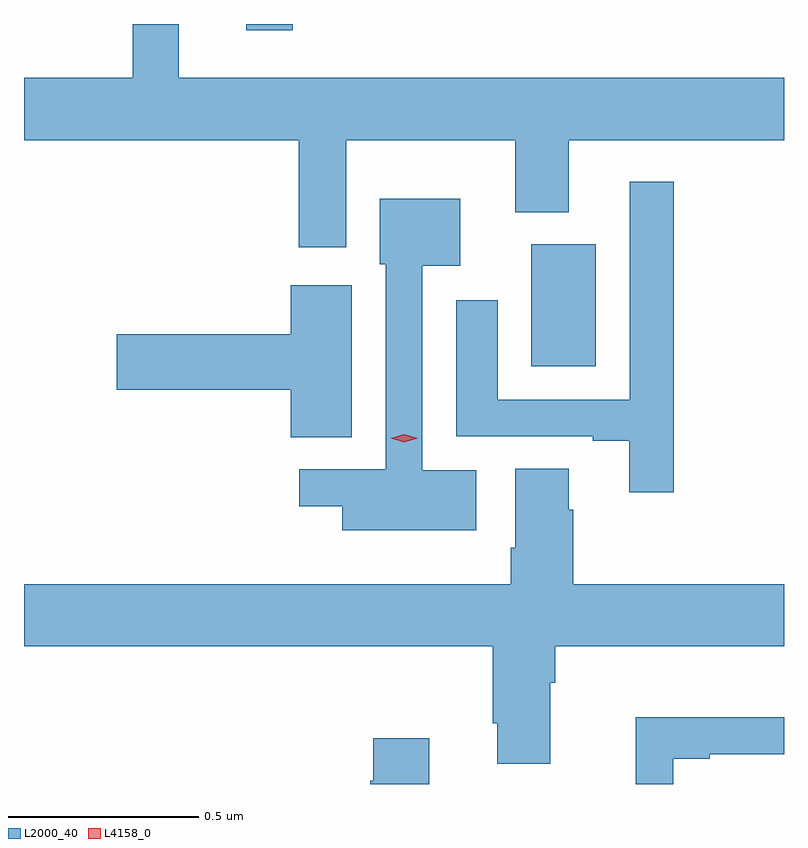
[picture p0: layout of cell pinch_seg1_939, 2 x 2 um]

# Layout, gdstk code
import gdstk
lib = gdstk.Library(unit=1e-6, precision=1e-09)
def R(c, l, rs):  # rectangles x0, y0, x1, y1
    for r in rs: c.add(gdstk.rectangle(r[:2], r[2:], *l))
def P(c, l, *ps):  # polygons
    for p in ps: c.add(gdstk.Polygon(p, *l))
L2000_40 = (2000, 40)
L4158_0 = (4158, 0)

pinch_seg1_939 = lib.new_cell('pinch_seg1_939')
R(pinch_seg1_939, L2000_40, [(254.783,547.142,254.953,547.462), (254.033,548.025,254.155,548.042)])
P(pinch_seg1_939, L2000_40, [(254.296,547.736),(254.741,547.736),(254.741,547.547),(254.881,547.547),(254.881,547.736),(255.448,547.736),(255.448,547.9),(253.855,547.9),(253.855,548.042),(253.734,548.042),(253.734,547.9),(253.448,547.9),(253.448,547.736),(254.171,547.736),(254.171,547.455),(254.296,547.455)],
  [(255.158,547.627),(255.042,547.627),(255.042,547.053),(254.695,547.053),(254.695,547.315),(254.585,547.315),(254.585,546.957),(254.945,546.957),(254.945,546.945),(255.041,546.945),(255.041,546.81),(255.158,546.81)],
  [(254.638,546.868),(254.496,546.868),(254.496,547.406),(254.596,547.406),(254.596,547.582),(254.384,547.582),(254.384,547.41),(254.4,547.41),(254.4,546.87),(254.172,546.87),(254.172,546.773),(254.285,546.773),(254.285,546.71),(254.638,546.71)],
  [(254.311,547.354),(254.15,547.354),(254.15,547.226),(253.692,547.226),(253.692,547.079),(254.15,547.079),(254.15,546.955),(254.311,546.955)],
  [(254.833,546.308),(254.846,546.308),(254.846,546.404),(255.448,546.404),(255.448,546.568),(254.894,546.568),(254.894,546.764),(254.881,546.764),(254.881,546.872),(254.741,546.872),(254.741,546.664),(254.729,546.664),(254.729,546.568),(253.448,546.568),(253.448,546.404),(254.681,546.404),(254.681,546.202),(254.693,546.202),(254.693,546.095),(254.833,546.095)],
  [(255.156,546.108),(255.253,546.108),(255.253,546.12),(255.448,546.12),(255.448,546.218),(255.058,546.218),(255.058,546.042),(255.156,546.042)],
  [(254.515,546.163),(254.367,546.163),(254.367,546.05),(254.359,546.05),(254.359,546.042),(254.515,546.042)])
P(pinch_seg1_939, L4158_0, [(254.448,546.942),(254.413,546.952),(254.412,546.952),(254.413,546.952),(254.448,546.962),(254.484,546.952),(254.484,546.952),(254.484,546.952)])

lib.write_gds('pinch_seg1_939.gds')
